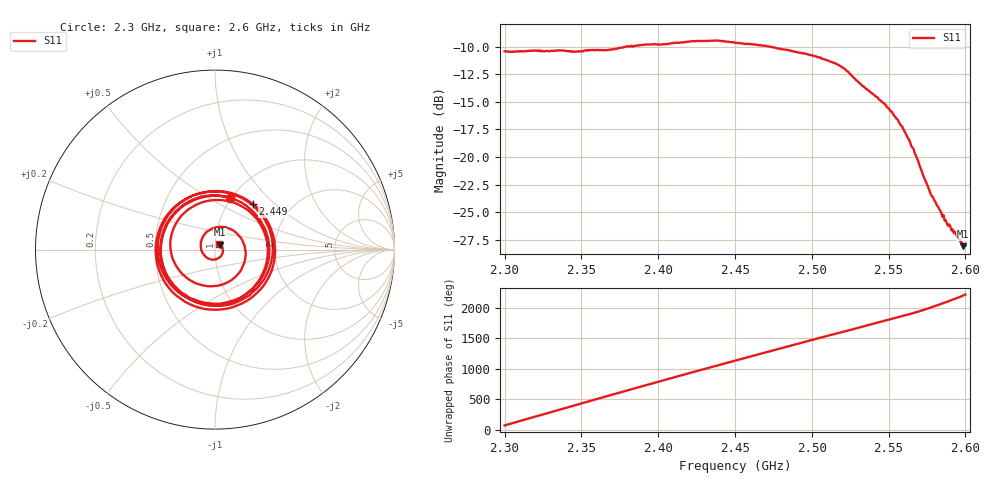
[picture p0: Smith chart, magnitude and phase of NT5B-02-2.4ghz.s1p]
! NanoVNA-App
! Date: 2026-05-25 01:52:19
! Start: 2.3GHz Stop: 2.6GHz Points: 401
! S-Parameter data: F S11
# Hz S RI R 50
!  Frequency  S11_Real  S11_Imag
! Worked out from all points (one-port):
!   401 points, 2.3 GHz to 2.6 GHz, reference 50 ohm
!   lowest |S11| = -28.1 dB at 2.599 GHz (marker M1), VSWR 1.08, Z = 52.9 + j2.84 ohm
!   |S11| at or under -10 dB: start of sweep to 2.379 GHz; 2.383206 GHz to 2.383299 GHz (92.96 kHz wide, 0.0039 % of centre); 2.473 GHz to end of sweep
!   S11 on the Smith chart (normalised r, x): 2.3 GHz: 0.98, +0.63; 2.449 GHz: 1.30, +0.74; 2.6 GHz: 1.04, +0.07
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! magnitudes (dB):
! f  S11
! 2.3 GHz  -10.4
! 2.337 GHz  -10.4
! 2.347 GHz  -10.4
! 2.356 GHz  -10.3
! 2.366 GHz  -10.3
! 2.375 GHz  -10.1
! 2.392 GHz  -9.8
! 2.404 GHz  -9.8
! 2.413 GHz  -9.7
! 2.437 GHz  -9.5
! 2.449 GHz  -9.6
! 2.45 GHz  -9.7
! 2.47 GHz  -9.9
! 2.487 GHz  -10.4
! 2.504 GHz  -11.0
! 2.514 GHz  -11.5
! 2.52 GHz  -11.9
! 2.525 GHz  -12.5
! 2.532 GHz  -13.4
! 2.549 GHz  -15.5
! 2.557 GHz  -17.0
! 2.562 GHz  -18.3
! 2.568 GHz  -19.9
! 2.573 GHz  -21.8
! 2.578 GHz  -23.6
! 2.588 GHz  -26.1
! 2.599 GHz  -28.1
! 2.6 GHz  -28.0
